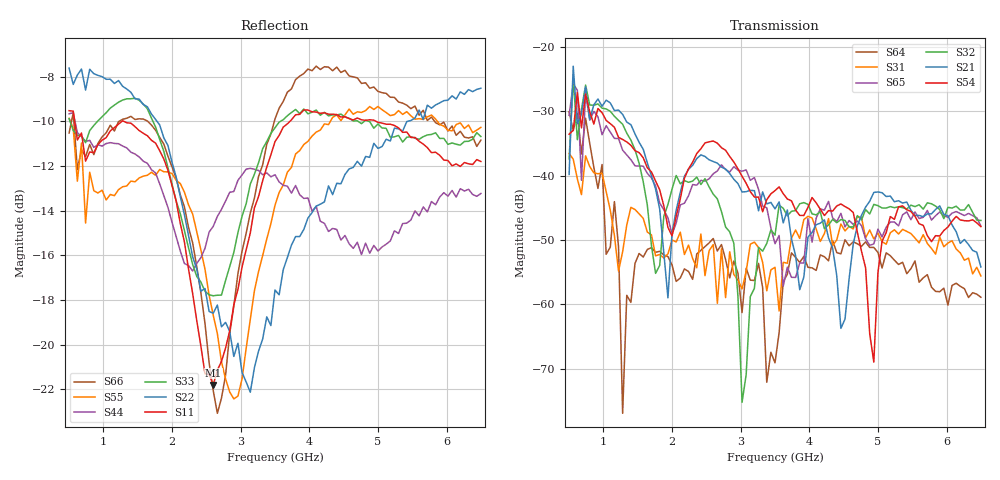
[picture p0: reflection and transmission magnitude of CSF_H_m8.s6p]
!Keysight Technologies,M9804A,MY58100912,A.14.10.03
!Date: Thursday, April 27, 2023 10:28:33
!Correction: S11(C  6-Port  )
!S12(C  6-Port  )
!S13(C  6-Port  )
!S14(C  6-Port  )
!S15(C  6-Port  )
!S16(C  6-Port  )
!S21(C  6-Port  )
!S22(C  6-Port  )
!S23(C  6-Port  )
!S24(C  6-Port  )
!S25(C  6-Port  )
!S26(C  6-Port  )
!S31(C  6-Port  )
!S32(C  6-Port  )
!S33(C  6-Port  )
!S34(C  6-Port  )
!S35(C  6-Port  )
!S36(C  6-Port  )
!S41(C  6-Port  )
!S42(C  6-Port  )
!S43(C  6-Port  )
!S44(C  6-Port  )
!S45(C  6-Port  )
!S46(C  6-Port  )
!S51(C  6-Port  )
!S52(C  6-Port  )
!S53(C  6-Port  )
!S54(C  6-Port  )
!S55(C  6-Port  )
!S56(C  6-Port  )
!S61(C  6-Port  )
!S62(C  6-Port  )
!S63(C  6-Port  )
!S64(C  6-Port  )
!S65(C  6-Port  )
!S66(C  6-Port  )
!S6P File: Measurement: :
# Hz S  RI  R 50
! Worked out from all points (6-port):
!   101 points, 500 MHz to 6.5 GHz, reference 50 ohm
!   strongest paths, dB at 500 MHz, 2 GHz, 3.5 GHz, 5 GHz, 6.5 GHz:
!     S54: -33.6, -49.4, -42.3, -55.0, -47.9
!     S21: -39.8, -48.9, -45.2, -42.5, -54.2
!     S32: -37.4, -42.1, -49.3, -44.7, -47.0
!     S65: -30.6, -49.1, -50.6, -48.3, -47.8
!     S31: -36.6, -50.0, -54.3, -48.9, -55.6
!     S64: -30.1, -53.9, -69.1, -51.9, -58.9
!   lowest |S11| = -21.8 dB at 2.6 GHz (marker M1), VSWR 1.18, Z = 42.7 + j1.9 ohm
!   |S11| at or under -10 dB: 581 MHz to 1.27 GHz (689.3 MHz wide, 74.5 % of centre); 1.296 GHz to 3.718 GHz (2.422 GHz wide, 96.6 % of centre); 4.971 GHz to end of sweep
